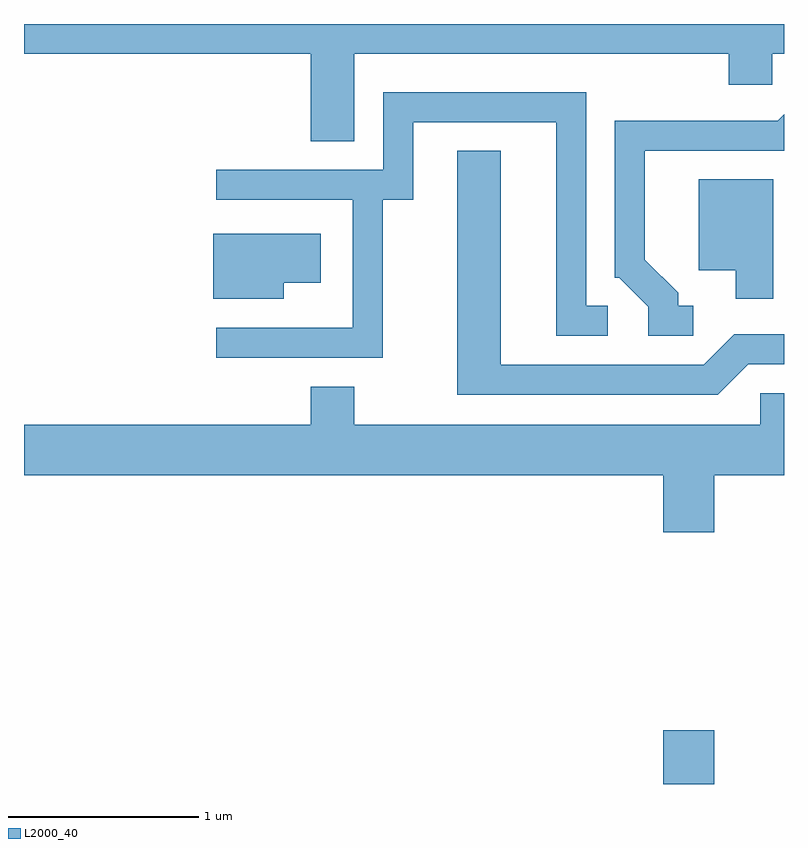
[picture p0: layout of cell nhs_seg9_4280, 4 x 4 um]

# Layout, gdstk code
import gdstk
lib = gdstk.Library(unit=1e-6, precision=1e-09)
def R(c, l, rs):  # rectangles x0, y0, x1, y1
    for r in rs: c.add(gdstk.rectangle(r[:2], r[2:], *l))
def P(c, l, *ps):  # polygons
    for p in ps: c.add(gdstk.Polygon(p, *l))
L2000_40 = (2000, 40)

nhs_seg9_4280 = lib.new_cell('nhs_seg9_4280')
R(nhs_seg9_4280, L2000_40, [(314.976,1972.432,315.244,1972.714)])
P(nhs_seg9_4280, L2000_40, [(313.349,1976.276),(315.321,1976.276),(315.321,1976.111),(315.549,1976.111),(315.549,1976.276),(315.611,1976.276),(315.611,1976.432),(311.611,1976.432),(311.611,1976.276),(313.121,1976.276),(313.121,1975.816),(313.349,1975.816)],
  [(313.499,1975.506),(313.659,1975.506),(313.659,1975.916),(314.411,1975.916),(314.411,1974.791),(314.683,1974.791),(314.683,1974.949),(314.569,1974.949),(314.569,1976.074),(313.501,1976.074),(313.501,1975.664),(312.623,1975.664),(312.623,1975.506),(313.341,1975.506),(313.341,1974.834),(312.623,1974.834),(312.623,1974.676),(313.499,1974.676)],
  [(315.133,1974.949),(315.054,1974.949),(315.054,1975.017),(314.879,1975.192),(314.879,1975.766),(315.611,1975.766),(315.611,1975.956),(315.579,1975.924),(314.721,1975.924),(314.721,1975.096),(314.744,1975.096),(314.896,1974.944),(314.896,1974.791),(315.133,1974.791)],
  [(315.422,1974.641),(315.611,1974.641),(315.611,1974.799),(315.349,1974.799),(315.189,1974.639),(314.119,1974.639),(314.119,1975.764),(313.891,1975.764),(313.891,1974.481),(315.262,1974.481)],
  [(315.554,1975.614),(315.161,1975.614),(315.161,1975.136),(315.356,1975.136),(315.356,1974.986),(315.554,1974.986)],
  [(312.979,1975.071),(313.174,1975.071),(313.174,1975.329),(312.606,1975.329),(312.606,1974.986),(312.979,1974.986)],
  [(315.244,1974.056),(315.611,1974.056),(315.611,1974.489),(315.486,1974.489),(315.486,1974.324),(313.349,1974.324),(313.349,1974.524),(313.121,1974.524),(313.121,1974.324),(311.611,1974.324),(311.611,1974.056),(314.976,1974.056),(314.976,1973.756),(315.244,1973.756)])

lib.write_gds('nhs_seg9_4280.gds')
